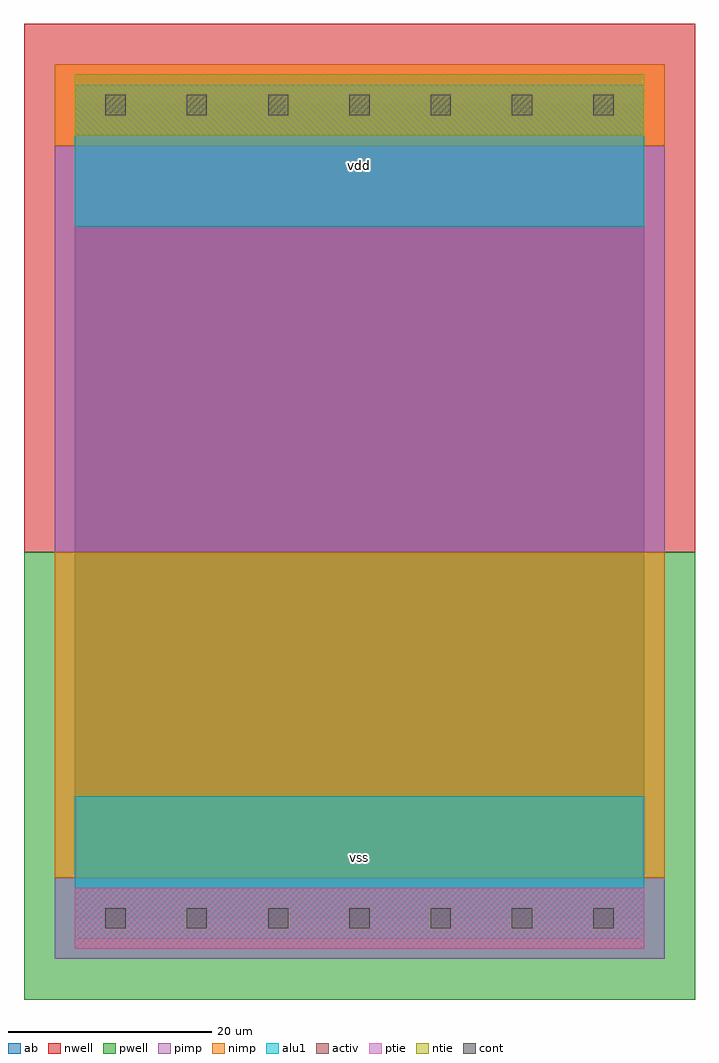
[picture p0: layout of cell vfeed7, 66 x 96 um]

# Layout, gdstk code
import gdstk
lib = gdstk.Library(unit=1e-6, precision=1e-09)
def R(c, l, rs):  # rectangles x0, y0, x1, y1
    for r in rs: c.add(gdstk.rectangle(r[:2], r[2:], *l))
def A(c, l, x, y, w, h, nx, ny, dx, dy):  # array of equal rectangles
    R(c, l, [(x+i*dx, y+j*dy, x+i*dx+w, y+j*dy+h) for i in range(nx) for j in range(ny)])
ntie = (5, 0)
ptie = (6, 0)
cont = (25, 0)
pwell = (41, 0)
nwell = (42, 0)
activ = (43, 0)
pimp = (44, 0)
nimp = (45, 0)
alu1 = (49, 0)
ab = (63, 0)

vfeed7 = lib.new_cell('vfeed7')
R(vfeed7, ntie, [(0,77,56,83)])
R(vfeed7, ptie, [(0,-3,56,3)])
A(vfeed7, cont, 3, -1, 2, 2, 7, 2, 8, 80)
R(vfeed7, pwell, [(-5,-8,61,36)])
R(vfeed7, nwell, [(-5,36,61,88)])
R(vfeed7, activ, [(0,-3,56,3), (0,77,56,83)])
R(vfeed7, pimp, [(-2,-4,58,4), (-2,36,58,76)])
R(vfeed7, nimp, [(-2,4,58,36), (-2,76,58,84)])
R(vfeed7, alu1, [(0,-2,56,12), (0,68,56,82)])
R(vfeed7, ab, [(0,0,56,80)])
vfeed7.add(gdstk.Label('vss', (28,6), layer=49, texttype=0))
vfeed7.add(gdstk.Label('vdd', (28,74), layer=49, texttype=0))

lib.write_gds('vfeed7.gds')
